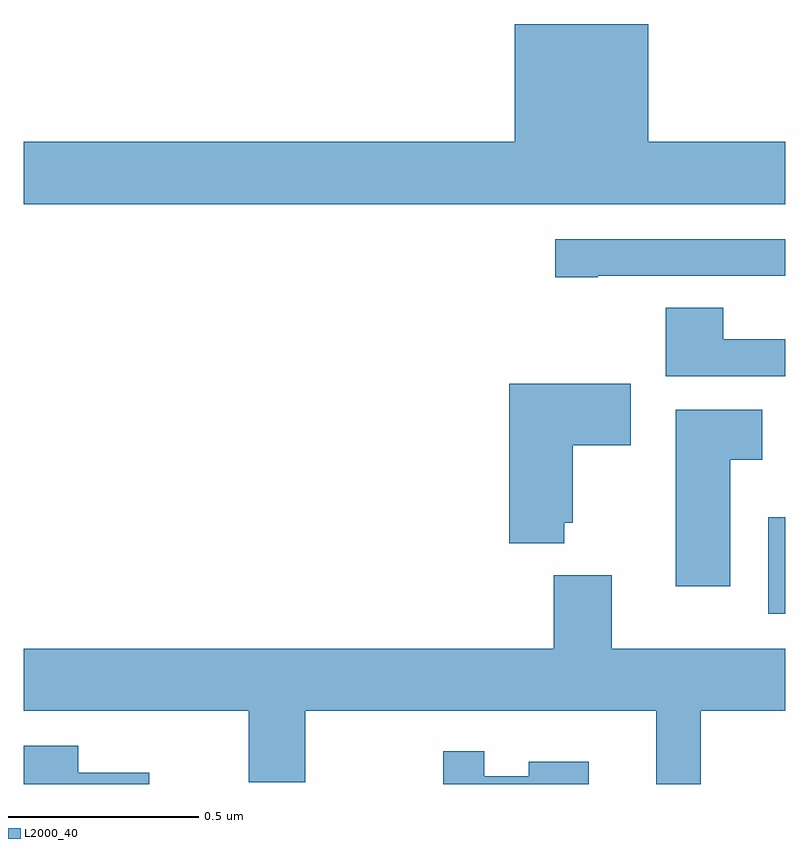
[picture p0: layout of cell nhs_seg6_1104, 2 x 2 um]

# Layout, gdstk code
import gdstk
lib = gdstk.Library(unit=1e-6, precision=1e-09)
def R(c, l, rs):  # rectangles x0, y0, x1, y1
    for r in rs: c.add(gdstk.rectangle(r[:2], r[2:], *l))
def P(c, l, *ps):  # polygons
    for p in ps: c.add(gdstk.Polygon(p, *l))
L2000_40 = (2000, 40)

nhs_seg6_1104 = lib.new_cell('nhs_seg6_1104')
R(nhs_seg6_1104, L2000_40, [(126.956,924.947,127,925.201)])
P(nhs_seg6_1104, L2000_40, [(127,926.188),(126.64,926.188),(126.64,926.497),(126.29,926.497),(126.29,926.188),(125,926.188),(125,926.024),(127,926.024)],
  [(126.508,925.836),(127,925.836),(127,925.932),(126.396,925.932),(126.396,925.831),(126.508,925.831)],
  [(127,925.668),(126.838,925.668),(126.838,925.751),(126.686,925.751),(126.686,925.572),(127,925.572)],
  [(126.42,925.187),(126.442,925.187),(126.442,925.39),(126.595,925.39),(126.595,925.552),(126.275,925.552),(126.275,925.133),(126.42,925.133)],
  [(126.856,925.352),(126.94,925.352),(126.94,925.483),(126.713,925.483),(126.713,925.02),(126.856,925.02)],
  [(126.779,924.692),(127,924.692),(127,924.856),(126.544,924.856),(126.544,925.048),(126.392,925.048),(126.392,924.856),(125,924.856),(125,924.692),(125.591,924.692),(125.591,924.505),(125.739,924.505),(125.739,924.692),(126.662,924.692),(126.662,924.5),(126.779,924.5)],
  [(125.329,924.529),(125.143,924.529),(125.143,924.601),(125,924.601),(125,924.5),(125.329,924.5)],
  [(126.484,924.559),(126.326,924.559),(126.326,924.52),(126.21,924.52),(126.21,924.586),(126.102,924.586),(126.102,924.5),(126.484,924.5)])

lib.write_gds('nhs_seg6_1104.gds')
